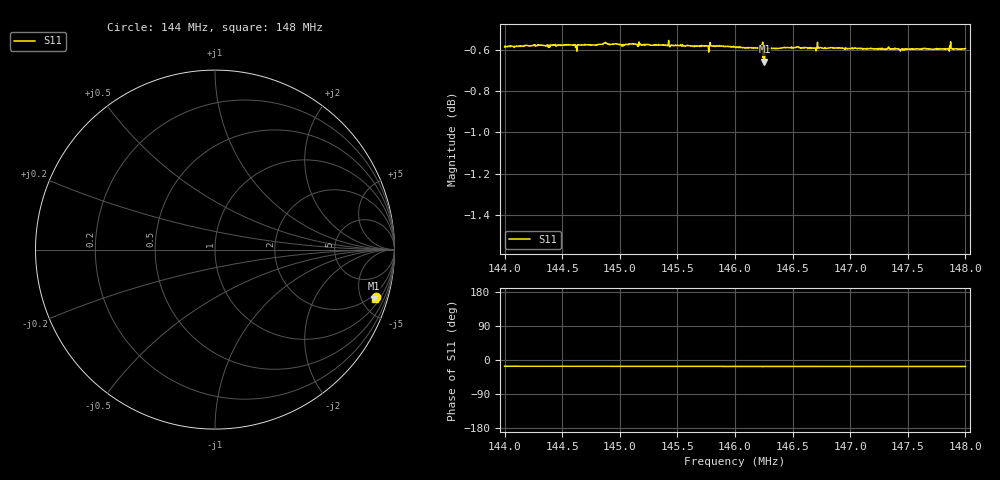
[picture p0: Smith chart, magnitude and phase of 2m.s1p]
! Calibrated averaged scanner-service zoom
# Hz S RI R 50
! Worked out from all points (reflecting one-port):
!   1001 points, 144 MHz to 148 MHz, reference 50 ohm
!   lowest |S11| = -0.7 dB at 146.26 MHz (marker M1), VSWR 26.52, Z = 79.7 - j311 ohm
!   phase of S11 starts at -16 deg and turns -1 deg over the sweep
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1.44e8  0.8969 -0.2641
1.445e8  0.897 -0.2666
1.44636e8  0.897 -0.2675
1.44652e8  0.8969 -0.2674
1.44784e8  0.8968 -0.2678
1.44876e8  0.898 -0.2685
1.45e8  0.897 -0.2689
1.45112e8  0.8969 -0.2695
1.455e8  0.8958 -0.2709
1.46e8  0.8945 -0.272
1.4622e8  0.8935 -0.2725
1.46224e8  0.8938 -0.2725
1.46232e8  0.8952 -0.2726
1.46236e8  0.8932 -0.2728
1.46256e8  0.886 -0.2736
1.46264e8  0.8939 -0.2724
1.46268e8  0.8937 -0.2725
1.46276e8  0.8934 -0.2725
1.4628e8  0.8934 -0.2724
1.465e8  0.8938 -0.2728
1.46692e8  0.8936 -0.2733
1.46736e8  0.8937 -0.2732
1.46784e8  0.8933 -0.2733
1.47e8  0.893 -0.2738
1.475e8  0.8927 -0.2739
1.4784e8  0.8928 -0.2741
1.47864e8  0.8943 -0.2744
1.48e8  0.893 -0.2743
